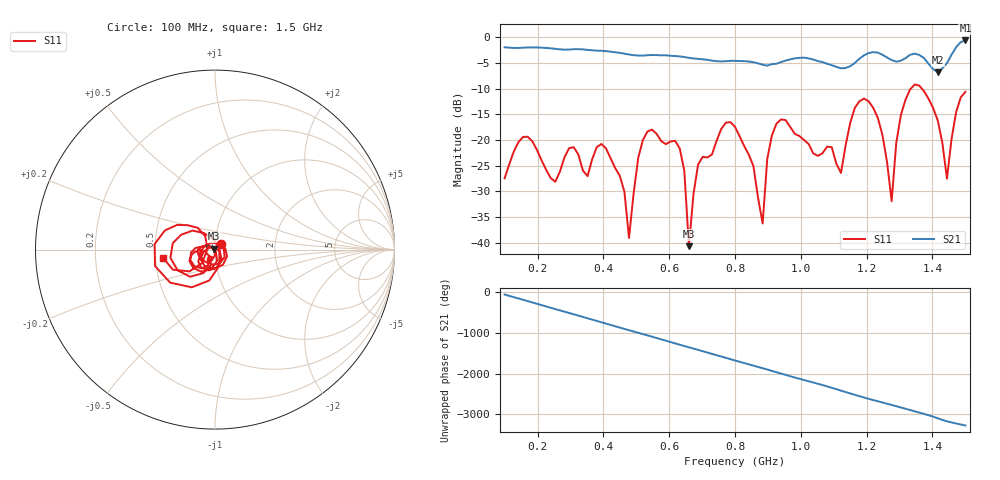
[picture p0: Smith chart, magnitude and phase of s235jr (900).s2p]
! NanoVNA-App
! Date: 2025-09-25 15:11:10
! Start: 100MHz Stop: 1,5GHz Points: 101
! S-Parameter data: F S11 S21 S12 S22
# Hz S RI R 50
!  Frequency  S11_Real  S11_Imag  S21_Real  S21_Imag  S12_Real  S12_Imag  S22_Real  S22_Imag
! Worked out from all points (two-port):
!   101 points, 100 MHz to 1.5 GHz, reference 50 ohm
!   highest |S21| = -0.63 dB at 1.5 GHz (marker M1); lowest = -6.8 dB at 1.416 GHz (marker M2)
!   |S21| within 3 dB of the highest: start of sweep to 608.3 MHz; 1.19 GHz to 1.254 GHz (64.1 MHz wide, 5.25 % of centre) (the widest 2 of 4)
!   lowest |S11| = -40.7 dB at 660 MHz (marker M3), VSWR 1.02, Z = 49.3 + j0.542 ohm
!   |S11| at or under -10 dB: start of sweep to 1.335 GHz; 1.368 GHz to end of sweep
!   S12 and S22 are empty: the file has one direction only
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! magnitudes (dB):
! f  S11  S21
! 100 MHz  -27.5  -2.0
! 156 MHz  -19.4  -2.0
! 338 MHz  -26.0  -2.4
! 408 MHz  -21.6  -2.7
! 478 MHz  -39.1  -3.4
! 520 MHz  -20.0  -3.6
! 576 MHz  -20.2  -3.5
! 632 MHz  -21.6  -3.7
! 660 MHz  -40.7  -4.0
! 688 MHz  -24.8  -4.2
! 800 MHz  -17.4  -4.6
! 884 MHz  -36.3  -5.4
! 898 MHz  -23.7  -5.5
! 926 MHz  -16.8  -5.2
! 1.038 GHz  -22.6  -4.4
! 1.122 GHz  -26.4  -6.1
! 1.206 GHz  -12.5  -3.1
! 1.276 GHz  -31.9  -4.5
! 1.332 GHz  -10.2  -3.4
! 1.416 GHz  -16.2  -6.8
! 1.444 GHz  -27.5  -5.1
! 1.5 GHz  -10.7  -0.6
